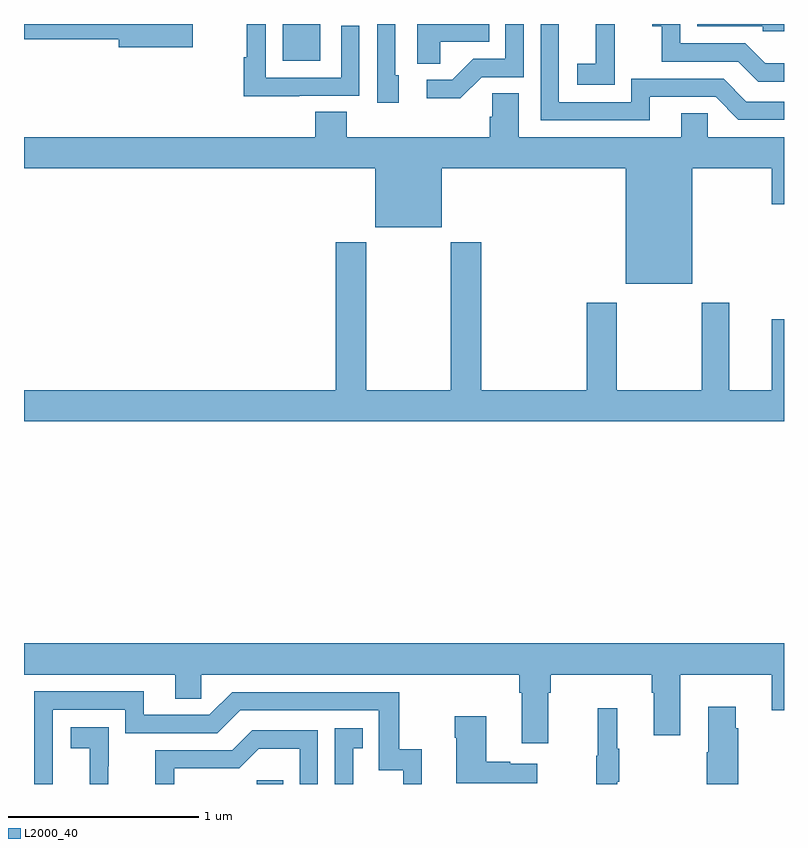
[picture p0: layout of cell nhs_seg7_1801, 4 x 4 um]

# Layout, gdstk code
import gdstk
lib = gdstk.Library(unit=1e-6, precision=1e-09)
def R(c, l, rs):  # rectangles x0, y0, x1, y1
    for r in rs: c.add(gdstk.rectangle(r[:2], r[2:], *l))
def P(c, l, *ps):  # polygons
    for p in ps: c.add(gdstk.Polygon(p, *l))
L2000_40 = (2000, 40)

nhs_seg7_1801 = lib.new_cell('nhs_seg7_1801')
R(nhs_seg7_1801, L2000_40, [(234.225,1040,234.365,1040.019), (234.362,1043.807,234.559,1044)])
P(nhs_seg7_1801, L2000_40, [(235.191,1043.906),(235.448,1043.906),(235.448,1044),(235.07,1044),(235.07,1043.791),(235.191,1043.791)],
  [(237,1043.794),(236.9,1043.794),(236.796,1043.898),(236.454,1043.898),(236.454,1044),(236.307,1044),(236.307,1043.987),(236.356,1043.987),(236.356,1043.802),(236.759,1043.802),(236.864,1043.697),(237,1043.697)],
  [(235.41,1043.721),(235.629,1043.721),(235.629,1044),(235.533,1044),(235.533,1043.817),(235.364,1043.817),(235.253,1043.706),(235.119,1043.706),(235.119,1043.609),(235.297,1043.609)],
  [(236.293,1043.616),(236.64,1043.616),(236.76,1043.496),(237,1043.496),(237,1043.592),(236.802,1043.592),(236.682,1043.712),(236.196,1043.712),(236.196,1043.589),(235.815,1043.589),(235.815,1044),(235.719,1044),(235.719,1043.493),(236.293,1043.493)],
  [(234.973,1043.73),(234.954,1043.73),(234.954,1044),(234.858,1044),(234.858,1043.586),(234.973,1043.586)],
  [(233.887,1044),(233,1044),(233,1043.92),(233.498,1043.92),(233.498,1043.878),(233.887,1043.878)],
  [(234.449,1043.622),(234.765,1043.622),(234.765,1043.992),(234.669,1043.992),(234.669,1043.718),(234.273,1043.718),(234.273,1044),(234.172,1044),(234.172,1043.825),(234.157,1043.825),(234.157,1043.621),(234.449,1043.621)],
  [(237,1044),(236.544,1044),(236.544,1043.988),(236.889,1043.988),(236.889,1043.961),(237,1043.961)],
  [(236.109,1043.887),(236.108,1043.887),(236.108,1044),(236.009,1044),(236.009,1043.791),(235.911,1043.791),(235.911,1043.681),(236.109,1043.681)],
  [(236.518,1043.24),(236.936,1043.24),(236.936,1043.052),(237,1043.052),(237,1043.404),(236.598,1043.404),(236.598,1043.531),(236.459,1043.531),(236.459,1043.404),(235.603,1043.404),(235.603,1043.636),(235.464,1043.636),(235.464,1043.513),(235.451,1043.513),(235.451,1043.404),(234.698,1043.404),(234.698,1043.537),(234.533,1043.537),(234.533,1043.404),(233,1043.404),(233,1043.24),(234.848,1043.24),(234.848,1042.931),(235.198,1042.931),(235.198,1043.24),(236.168,1043.24),(236.168,1042.634),(236.518,1042.634)],
  [(237,1042.447),(236.936,1042.447),(236.936,1042.072),(236.713,1042.072),(236.713,1042.534),(236.566,1042.534),(236.566,1042.072),(236.121,1042.072),(236.121,1042.534),(235.961,1042.534),(235.961,1042.072),(235.406,1042.072),(235.406,1042.852),(235.246,1042.852),(235.246,1042.072),(234.801,1042.072),(234.801,1042.852),(234.641,1042.852),(234.641,1042.072),(233,1042.072),(233,1041.908),(237,1041.908)],
  [(235.759,1040.48),(235.772,1040.48),(235.772,1040.576),(236.303,1040.576),(236.303,1040.48),(236.315,1040.48),(236.315,1040.256),(236.455,1040.256),(236.455,1040.576),(236.936,1040.576),(236.936,1040.388),(237,1040.388),(237,1040.74),(233,1040.74),(233,1040.576),(233.795,1040.576),(233.795,1040.449),(233.934,1040.449),(233.934,1040.576),(235.607,1040.576),(235.607,1040.48),(235.619,1040.48),(235.619,1040.214),(235.759,1040.214)],
  [(233.151,1040.391),(233.532,1040.391),(233.532,1040.268),(234.018,1040.268),(234.138,1040.388),(234.867,1040.388),(234.867,1040.073),(234.996,1040.073),(234.996,1040),(235.094,1040),(235.094,1040.182),(234.976,1040.182),(234.976,1040.484),(234.096,1040.484),(233.976,1040.364),(233.629,1040.364),(233.629,1040.487),(233.055,1040.487),(233.055,1040),(233.151,1040)],
  [(236.759,1040.294),(236.746,1040.294),(236.746,1040.407),(236.6,1040.407),(236.6,1040.168),(236.593,1040.168),(236.593,1040),(236.759,1040)],
  [(236.123,1040.011),(236.134,1040.011),(236.134,1040.185),(236.123,1040.185),(236.123,1040.398),(236.02,1040.398),(236.02,1040.148),(236.013,1040.148),(236.013,1040),(236.123,1040)],
  [(235.702,1040.107),(235.559,1040.107),(235.559,1040.117),(235.432,1040.117),(235.432,1040.356),(235.267,1040.356),(235.267,1040.243),(235.274,1040.243),(235.274,1040.003),(235.702,1040.003)],
  [(233.444,1040.093),(233.445,1040.093),(233.445,1040.299),(233.247,1040.299),(233.247,1040.189),(233.345,1040.189),(233.345,1040),(233.444,1040)],
  [(234.733,1040.187),(234.782,1040.187),(234.782,1040.293),(234.636,1040.293),(234.636,1040),(234.733,1040)],
  [(233.79,1040.082),(234.132,1040.082),(234.236,1040.186),(234.45,1040.186),(234.45,1040),(234.546,1040),(234.546,1040.283),(234.2,1040.283),(234.095,1040.178),(233.692,1040.178),(233.692,1040),(233.79,1040)])

lib.write_gds('nhs_seg7_1801.gds')
